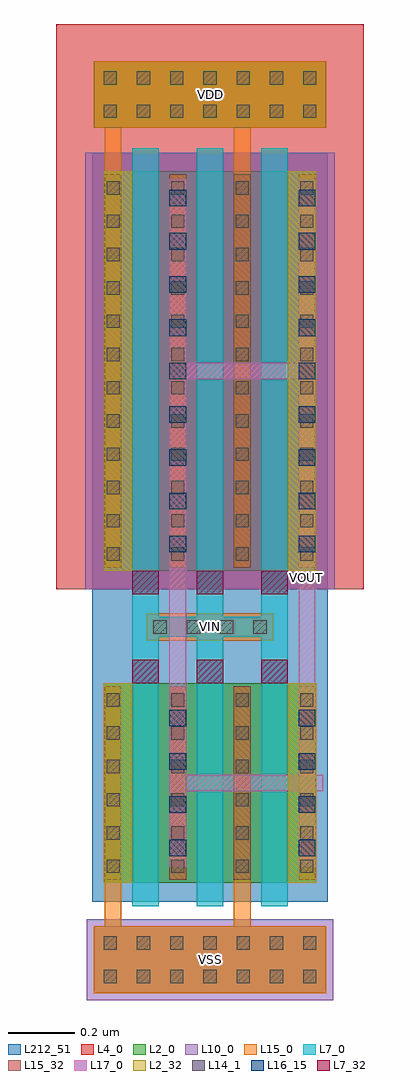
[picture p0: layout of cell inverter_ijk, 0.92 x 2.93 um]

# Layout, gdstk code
import gdstk
lib = gdstk.Library(unit=1e-6, precision=1e-09)
def R(c, l, rs):  # rectangles x0, y0, x1, y1
    for r in rs: c.add(gdstk.rectangle(r[:2], r[2:], *l))
def A(c, l, x, y, w, h, nx, ny, dx, dy):  # array of equal rectangles
    R(c, l, [(x+i*dx, y+j*dy, x+i*dx+w, y+j*dy+h) for i in range(nx) for j in range(ny)])
def P(c, l, *ps):  # polygons
    for p in ps: c.add(gdstk.Polygon(p, *l))
L2_0 = (2, 0)
L2_32 = (2, 32)
L4_0 = (4, 0)
L7_0 = (7, 0)
L7_32 = (7, 32)
L10_0 = (10, 0)
L14_1 = (14, 1)
L15_0 = (15, 0)
L15_32 = (15, 32)
L16_15 = (16, 15)
L17_0 = (17, 0)
L212_51 = (212, 51)

nmosininverter_ijk = lib.new_cell('nmosIninverter_ijk')
R(nmosininverter_ijk, L2_0, [(-0.319,-0.3,0.319,0.3)])
R(nmosininverter_ijk, L2_32, [(-0.319,-0.3,-0.234,0.3), (0.234,-0.3,0.319,0.3)])
A(nmosininverter_ijk, L7_0, -0.234, -0.37, 0.08, 0.74, 3, 1, 0.194, 0)
P(nmosininverter_ijk, L7_0, [(-0.388,0),(-0.388,0),(-0.388,0),(-0.388,0)],
  [(0.388,0),(0.388,0),(0.388,0),(0.388,0)])
A(nmosininverter_ijk, L7_32, -0.234, 0.3, 0.08, 0.07, 3, 1, 0.194, 0)
A(nmosininverter_ijk, L14_1, -0.311, -0.27, 0.04, 0.04, 4, 6, 0.194, 0.1)
A(nmosininverter_ijk, L15_0, -0.316, -0.291, 0.05, 0.582, 4, 1, 0.194, 0)
A(nmosininverter_ijk, L15_32, -0.316, -0.291, 0.05, 0.582, 4, 1, 0.194, 0)
R(nmosininverter_ijk, L212_51, [(-0.354,-0.356,0.354,0.356)])

pmosininverter_ijk = lib.new_cell('pmosIninverter_ijk')
R(pmosininverter_ijk, L2_0, [(-0.319,-0.6,0.319,0.6)])
R(pmosininverter_ijk, L2_32, [(-0.319,-0.6,-0.234,0.6), (0.234,-0.6,0.319,0.6)])
A(pmosininverter_ijk, L7_0, -0.234, -0.67, 0.08, 1.34, 3, 1, 0.194, 0)
P(pmosininverter_ijk, L7_0, [(-0.388,0),(-0.388,0),(-0.388,0),(-0.388,0)],
  [(0.388,0),(0.388,0),(0.388,0),(0.388,0)])
A(pmosininverter_ijk, L7_32, -0.234, -0.67, 0.08, 0.07, 3, 1, 0.194, 0)
R(pmosininverter_ijk, L10_0, [(-0.375,-0.656,0.375,0.656)])
A(pmosininverter_ijk, L14_1, -0.311, -0.57, 0.04, 0.04, 4, 12, 0.194, 0.1)
A(pmosininverter_ijk, L15_0, -0.316, -0.591, 0.05, 1.182, 4, 1, 0.194, 0)
A(pmosininverter_ijk, L15_32, -0.316, -0.591, 0.05, 1.182, 4, 1, 0.194, 0)
R(pmosininverter_ijk, L212_51, [(-0.354,-0.656,0.354,0.656)])

vss_supplyininverter_ijk = lib.new_cell('vss_supplyIninverter_ijk')
R(vss_supplyininverter_ijk, L2_0, [(-0.35,-0.1,0.35,0.1)])
R(vss_supplyininverter_ijk, L10_0, [(-0.371,-0.121,0.371,0.121)])
A(vss_supplyininverter_ijk, L14_1, -0.32, -0.07, 0.04, 0.04, 7, 2, 0.1, 0.1)
R(vss_supplyininverter_ijk, L15_0, [(-0.35,-0.1,0.35,0.1)])

vdd_supplyininverter_ijk = lib.new_cell('vdd_supplyIninverter_ijk')
R(vdd_supplyininverter_ijk, L2_0, [(-0.35,-0.1,0.35,0.1)])
A(vdd_supplyininverter_ijk, L14_1, -0.32, -0.07, 0.04, 0.04, 7, 2, 0.1, 0.1)
R(vdd_supplyininverter_ijk, L15_0, [(-0.35,-0.1,0.35,0.1)])

viamet12met2innmos_viasi = lib.new_cell('ViaMet12Met2innmos_viasIninverter_ijk')
R(viamet12met2innmos_viasi, L15_0, [(-0.025,-0.252,0.025,0.252)])
A(viamet12met2innmos_viasi, L16_15, -0.025, -0.22, 0.05, 0.05, 1, 4, 0, 0.13)
R(viamet12met2innmos_viasi, L17_0, [(-0.025,-0.252,0.025,0.252)])

nmos_viasininverter_ijk = lib.new_cell('nmos_viasIninverter_ijk')
nmos_viasininverter_ijk.add(gdstk.Reference(viamet12met2innmos_viasi, (0,0)))

viamet12met2inpmos_viasi = lib.new_cell('ViaMet12Met2inpmos_viasIninverter_ijk')
R(viamet12met2inpmos_viasi, L15_0, [(-0.025,-0.577,0.025,0.577)])
A(viamet12met2inpmos_viasi, L16_15, -0.025, -0.545, 0.05, 0.05, 1, 9, 0, 0.13)
R(viamet12met2inpmos_viasi, L17_0, [(-0.025,-0.577,0.025,0.577)])

pmos_viasininverter_ijk = lib.new_cell('pmos_viasIninverter_ijk')
pmos_viasininverter_ijk.add(gdstk.Reference(viamet12met2inpmos_viasi, (0,0)))

gate_contactsininverter_ = lib.new_cell('gate_contactsIninverter_ijk')
R(gate_contactsininverter_, L7_0, [(-0.18,-0.03,0.18,0.03)])
A(gate_contactsininverter_, L14_1, -0.17, -0.02, 0.04, 0.04, 4, 1, 0.1, 0)
R(gate_contactsininverter_, L15_0, [(-0.191,-0.041,0.191,0.041)])

inverter_ijk = lib.new_cell('inverter_ijk')
R(inverter_ijk, L4_0, [(-0.462,0.944,0.462,2.643)])
R(inverter_ijk, L7_0, [(-0.234,0.801,0.234,0.861)])
R(inverter_ijk, L212_51, [(-0.354,0.006,0.354,2.256)])
inverter_ijk.add(gdstk.FlexPath([(-0.291,0.362),(-0.291,-0.169)], 0.05, ends="flush", simple_path=True, layer=15, datatype=0))  # L15_0
inverter_ijk.add(gdstk.FlexPath([(0.097,0.362),(0.097,-0.169)], 0.05, ends="flush", simple_path=True, layer=15, datatype=0))  # L15_0
inverter_ijk.add(gdstk.FlexPath([(0.341,0.362),(-0.097,0.362)], 0.05, ends="flush", simple_path=True, layer=17, datatype=0))  # L17_0
inverter_ijk.add(gdstk.FlexPath([(-0.291,1.6),(-0.291,2.431)], 0.05, ends="flush", simple_path=True, layer=15, datatype=0))  # L15_0
inverter_ijk.add(gdstk.FlexPath([(0.097,1.6),(0.097,2.431)], 0.05, ends="flush", simple_path=True, layer=15, datatype=0))  # L15_0
inverter_ijk.add(gdstk.FlexPath([(-0.194,0.362),(-0.194,0.831)], 0.08, ends="flush", simple_path=True, layer=7, datatype=0))  # L7_0
inverter_ijk.add(gdstk.FlexPath([(0,0.362),(0,0.831)], 0.08, ends="flush", simple_path=True, layer=7, datatype=0))  # L7_0
inverter_ijk.add(gdstk.FlexPath([(0.194,0.362),(0.194,0.831)], 0.08, ends="flush", simple_path=True, layer=7, datatype=0))  # L7_0
inverter_ijk.add(gdstk.FlexPath([(-0.194,1.6),(-0.194,0.831)], 0.08, ends="flush", simple_path=True, layer=7, datatype=0))  # L7_0
inverter_ijk.add(gdstk.FlexPath([(0,1.6),(0,0.831)], 0.08, ends="flush", simple_path=True, layer=7, datatype=0))  # L7_0
inverter_ijk.add(gdstk.FlexPath([(0.194,1.6),(0.194,0.831)], 0.08, ends="flush", simple_path=True, layer=7, datatype=0))  # L7_0
inverter_ijk.add(gdstk.FlexPath([(-0.097,1.6),(0.291,1.6)], 0.05, ends="flush", simple_path=True, layer=17, datatype=0))  # L17_0
inverter_ijk.add(gdstk.FlexPath([(-0.097,0.362),(-0.097,1.6)], 0.05, ends="flush", simple_path=True, layer=17, datatype=0))  # L17_0
inverter_ijk.add(gdstk.FlexPath([(0.291,0.362),(0.291,1.6)], 0.05, ends="flush", simple_path=True, layer=17, datatype=0))  # L17_0
inverter_ijk.add(gdstk.Reference(nmosininverter_ijk, (0,0.362)))
inverter_ijk.add(gdstk.Reference(pmosininverter_ijk, (0,1.6)))
inverter_ijk.add(gdstk.Reference(vss_supplyininverter_ijk, (0,-0.169)))
inverter_ijk.add(gdstk.Reference(vdd_supplyininverter_ijk, (0,2.431)))
inverter_ijk.add(gdstk.Reference(nmos_viasininverter_ijk, (-0.097,0.362)))
inverter_ijk.add(gdstk.Reference(nmos_viasininverter_ijk, (0.291,0.362)))
inverter_ijk.add(gdstk.Reference(pmos_viasininverter_ijk, (-0.097,1.6)))
inverter_ijk.add(gdstk.Reference(pmos_viasininverter_ijk, (0.291,1.6)))
inverter_ijk.add(gdstk.Reference(gate_contactsininverter_, (0,0.831)))
inverter_ijk.add(gdstk.Label('VSS', (0,-0.169), layer=15, texttype=20))
inverter_ijk.add(gdstk.Label('VDD', (0,2.431), layer=15, texttype=20))
inverter_ijk.add(gdstk.Label('VOUT', (0.291,0.981), layer=17, texttype=20))
inverter_ijk.add(gdstk.Label('VIN', (0,0.831), layer=15, texttype=20))

lib.write_gds('inverter_ijk.gds')
